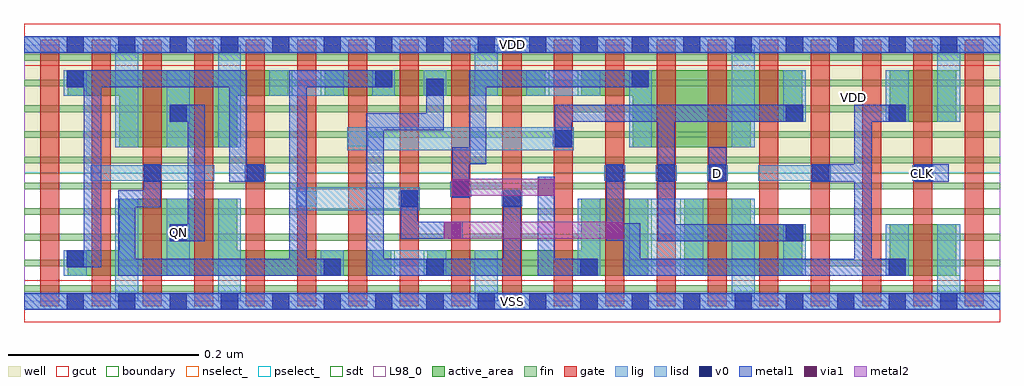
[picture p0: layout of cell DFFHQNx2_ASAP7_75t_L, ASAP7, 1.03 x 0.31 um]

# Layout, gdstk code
import gdstk
lib = gdstk.Library(unit=1e-6, precision=2.5e-10)
def R(c, l, rs):  # rectangles x0, y0, x1, y1
    for r in rs: c.add(gdstk.rectangle(r[:2], r[2:], *l))
def A(c, l, x, y, w, h, nx, ny, dx, dy):  # array of equal rectangles
    R(c, l, [(x+i*dx, y+j*dy, x+i*dx+w, y+j*dy+h) for i in range(nx) for j in range(ny)])
def P(c, l, *ps):  # polygons
    for p in ps: c.add(gdstk.Polygon(p, *l))
well = (1, 0)
fin = (2, 0)
gate = (7, 0)
gcut = (10, 0)
active_area = (11, 0)
nselect_ = (12, 0)
pselect_ = (13, 0)
lig = (16, 0)
lisd = (17, 0)
v0 = (18, 0)
metal1 = (19, 0)
metal2 = (20, 0)
via1 = (21, 0)
sdt = (88, 0)
L98_0 = (98, 0)
boundary = (100, 0)

dffhqnx2_asap7_75t_l = lib.new_cell('DFFHQNx2_ASAP7_75t_L')
R(dffhqnx2_asap7_75t_l, well, [(0,0.135,1.026,0.27)])
A(dffhqnx2_asap7_75t_l, fin, 0, 0.01, 1.026, 0.007, 1, 10, 0, 0.027)
A(dffhqnx2_asap7_75t_l, gate, 0.017, -0.005, 0.02, 0.28, 19, 1, 0.054, 0)
R(dffhqnx2_asap7_75t_l, gcut, [(0,-0.022,1.026,0.022), (0,0.248,1.026,0.292)])
R(dffhqnx2_asap7_75t_l, active_area, [(0.91,0.027,0.98,0.081), (0.91,0.189,0.98,0.243), (0.316,0.216,0.548,0.243)])
P(dffhqnx2_asap7_75t_l, active_area, [(0.694,0.027),(0.694,0.108),(0.764,0.108),(0.764,0.081),(0.818,0.081),(0.818,0.027)],
  [(0.424,0.027),(0.424,0.054),(0.586,0.054),(0.586,0.108),(0.656,0.108),(0.656,0.027)],
  [(0.046,0.027),(0.046,0.054),(0.1,0.054),(0.1,0.108),(0.224,0.108),(0.224,0.054),(0.386,0.054),(0.386,0.027)],
  [(0.64,0.162),(0.64,0.216),(0.586,0.216),(0.586,0.243),(0.818,0.243),(0.818,0.189),(0.764,0.189),(0.764,0.162)],
  [(0.1,0.162),(0.1,0.216),(0.046,0.216),(0.046,0.243),(0.278,0.243),(0.278,0.216),(0.224,0.216),(0.224,0.162)])
R(dffhqnx2_asap7_75t_l, nselect_, [(0,0,1.026,0.135)])
R(dffhqnx2_asap7_75t_l, pselect_, [(0,0.135,1.026,0.27)])
A(dffhqnx2_asap7_75t_l, lig, 0.286, 0.1, 0.022, 0.016, 3, 1, 0.108, 0)
A(dffhqnx2_asap7_75t_l, lig, 0.61, 0.127, 0.022, 0.016, 3, 1, 0.054, 0)
R(dffhqnx2_asap7_75t_l, lig, [(0,-0.008,1.026,0.008), (0.448,0.11,0.47,0.126), (0.07,0.127,0.2,0.143), (0.232,0.127,0.254,0.143), (0.772,0.127,0.848,0.143), (0.934,0.127,0.956,0.143), (0.34,0.163,0.362,0.179), (0.556,0.163,0.578,0.179), (0,0.262,1.026,0.278)])
R(dffhqnx2_asap7_75t_l, lisd, [(0.096,0,0.12,0.108), (0.204,0,0.228,0.108), (0.474,0,0.498,0.054), (0.744,0,0.768,0.108), (0.96,0,0.984,0.081), (0.042,0.027,0.066,0.054), (0.15,0.027,0.174,0.108), (0.312,0.027,0.336,0.054), (0.366,0.027,0.444,0.054), (0.582,0.027,0.606,0.108), (0.636,0.027,0.714,0.108), (0.798,0.027,0.822,0.081), (0.906,0.027,0.93,0.081), (0.286,0.096,0.416,0.12), (0.34,0.159,0.578,0.183), (0.556,0.159,0.578,0.183), (0.096,0.162,0.12,0.27), (0.15,0.162,0.174,0.243), (0.204,0.162,0.228,0.27), (0.636,0.162,0.66,0.243), (0.744,0.162,0.768,0.27), (0.798,0.189,0.822,0.243), (0.906,0.189,0.93,0.243), (0.96,0.189,0.984,0.27), (0.042,0.216,0.066,0.243), (0.258,0.216,0.336,0.243), (0.366,0.216,0.39,0.243), (0.42,0.216,0.444,0.243), (0.474,0.216,0.498,0.27), (0.528,0.216,0.606,0.243)])
A(dffhqnx2_asap7_75t_l, v0, 0.045, -0.009, 0.018, 0.018, 18, 2, 0.054, 0.27)
A(dffhqnx2_asap7_75t_l, v0, 0.612, 0.126, 0.018, 0.018, 3, 1, 0.054, 0)
R(dffhqnx2_asap7_75t_l, v0, [(0.315,0.027,0.333,0.045), (0.423,0.027,0.441,0.045), (0.585,0.027,0.603,0.045), (0.909,0.027,0.927,0.045), (0.045,0.036,0.063,0.054), (0.153,0.063,0.171,0.081), (0.801,0.063,0.819,0.081), (0.396,0.099,0.414,0.117), (0.504,0.099,0.522,0.117), (0.45,0.109,0.468,0.127), (0.126,0.126,0.144,0.144), (0.234,0.126,0.252,0.144), (0.828,0.126,0.846,0.144), (0.936,0.126,0.954,0.144), (0.558,0.162,0.576,0.18), (0.153,0.189,0.171,0.207), (0.801,0.189,0.819,0.207), (0.909,0.189,0.927,0.207), (0.423,0.216,0.441,0.234), (0.045,0.225,0.063,0.243), (0.369,0.225,0.387,0.243), (0.639,0.225,0.657,0.243)])
R(dffhqnx2_asap7_75t_l, metal1, [(0,-0.009,1.026,0.009), (0.63,0.027,0.892,0.045), (0.63,0.027,0.648,0.081), (0.612,0.064,0.648,0.082), (0.612,0.064,0.63,0.144), (0.72,0.126,0.738,0.162), (0.936,0.126,0.972,0.144), (0,0.261,1.026,0.279)])
P(dffhqnx2_asap7_75t_l, metal1, [(0.099,0.027),(0.099,0.117),(0.126,0.117),(0.126,0.144),(0.144,0.144),(0.144,0.099),(0.117,0.099),(0.117,0.045),(0.279,0.045),(0.279,0.243),(0.387,0.243),(0.387,0.225),(0.297,0.225),(0.297,0.045),(0.333,0.045),(0.333,0.027)],
  [(0.396,0.066),(0.396,0.117),(0.414,0.117),(0.414,0.084),(0.461,0.084),(0.461,0.066)],
  [(0.873,0.027),(0.873,0.126),(0.828,0.126),(0.828,0.144),(0.873,0.144),(0.873,0.207),(0.927,0.207),(0.927,0.189),(0.891,0.189),(0.891,0.045),(0.927,0.045),(0.927,0.027)],
  [(0.36,0.027),(0.36,0.198),(0.423,0.198),(0.423,0.234),(0.441,0.234),(0.441,0.18),(0.378,0.18),(0.378,0.045),(0.504,0.045),(0.504,0.117),(0.522,0.117),(0.522,0.027)],
  [(0.153,0.063),(0.153,0.081),(0.172,0.081),(0.172,0.189),(0.153,0.189),(0.153,0.207),(0.19,0.207),(0.19,0.063)],
  [(0.045,0.036),(0.045,0.054),(0.063,0.054),(0.063,0.225),(0.045,0.225),(0.045,0.243),(0.234,0.243),(0.234,0.144),(0.252,0.144),(0.252,0.126),(0.216,0.126),(0.216,0.225),(0.081,0.225),(0.081,0.036)],
  [(0.666,0.063),(0.666,0.189),(0.576,0.189),(0.576,0.162),(0.558,0.162),(0.558,0.207),(0.819,0.207),(0.819,0.189),(0.684,0.189),(0.684,0.081),(0.819,0.081),(0.819,0.063)],
  [(0.54,0.027),(0.54,0.131),(0.558,0.131),(0.558,0.045),(0.603,0.045),(0.603,0.027)],
  [(0.45,0.109),(0.45,0.162),(0.468,0.162),(0.468,0.243),(0.657,0.243),(0.657,0.225),(0.486,0.225),(0.486,0.144),(0.468,0.144),(0.468,0.109)])
R(dffhqnx2_asap7_75t_l, metal2, [(0.441,0.066,0.63,0.084), (0.45,0.111,0.558,0.129)])
R(dffhqnx2_asap7_75t_l, via1, [(0.441,0.066,0.459,0.084), (0.612,0.066,0.63,0.084), (0.45,0.111,0.468,0.129), (0.54,0.111,0.558,0.129)])
A(dffhqnx2_asap7_75t_l, sdt, 0.096, 0.027, 0.024, 0.081, 3, 2, 0.054, 0.135)
A(dffhqnx2_asap7_75t_l, sdt, 0.312, 0.027, 0.024, 0.027, 4, 1, 0.054, 0)
A(dffhqnx2_asap7_75t_l, sdt, 0.582, 0.027, 0.024, 0.081, 4, 1, 0.054, 0)
A(dffhqnx2_asap7_75t_l, sdt, 0.258, 0.216, 0.024, 0.027, 7, 1, 0.054, 0)
R(dffhqnx2_asap7_75t_l, sdt, [(0.042,0.027,0.066,0.054), (0.798,0.027,0.822,0.081), (0.906,0.027,0.93,0.081), (0.96,0.027,0.984,0.081), (0.636,0.162,0.66,0.243), (0.744,0.162,0.768,0.243), (0.798,0.189,0.822,0.243), (0.906,0.189,0.93,0.243), (0.96,0.189,0.984,0.243), (0.042,0.216,0.066,0.243)])
R(dffhqnx2_asap7_75t_l, L98_0, [(0,0,1.026,0.27)])
R(dffhqnx2_asap7_75t_l, boundary, [(0,0,1.026,0.27)])
dffhqnx2_asap7_75t_l.add(gdstk.Label('CLK', (0.945,0.135), layer=19, texttype=251))
dffhqnx2_asap7_75t_l.add(gdstk.Label('QN', (0.162,0.072), layer=19, texttype=251))
dffhqnx2_asap7_75t_l.add(gdstk.Label('D', (0.729,0.135), layer=19, texttype=251))
dffhqnx2_asap7_75t_l.add(gdstk.Label('VSS', (0.513,0), layer=19, texttype=251))
dffhqnx2_asap7_75t_l.add(gdstk.Label('VDD', (0.513,0.27), layer=19, texttype=251))
dffhqnx2_asap7_75t_l.add(gdstk.Label('VDD', (0.872,0.214), layer=1, texttype=251))
dffhqnx2_asap7_75t_l.add(gdstk.Label('VSS', (1.18,0.214), layer=3, texttype=251))

lib.write_gds('DFFHQNx2_ASAP7_75t_L.gds')
